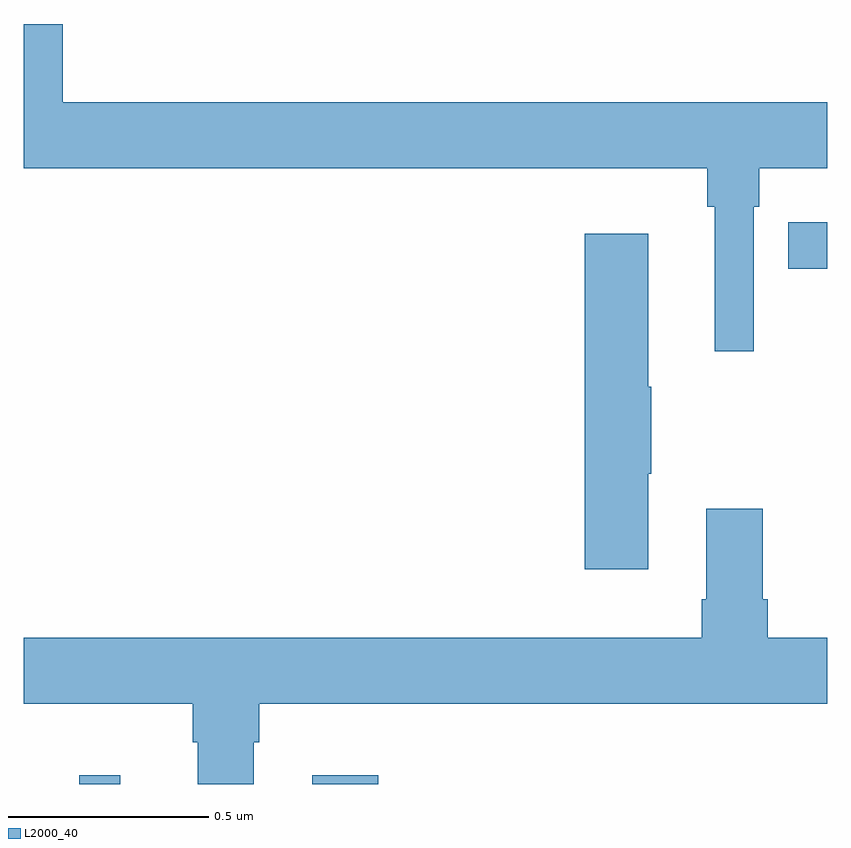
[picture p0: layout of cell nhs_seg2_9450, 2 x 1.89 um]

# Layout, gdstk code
import gdstk
lib = gdstk.Library(unit=1e-6, precision=1e-09)
def R(c, l, rs):  # rectangles x0, y0, x1, y1
    for r in rs: c.add(gdstk.rectangle(r[:2], r[2:], *l))
def P(c, l, *ps):  # polygons
    for p in ps: c.add(gdstk.Polygon(p, *l))
L2000_40 = (2000, 40)

nhs_seg2_9450 = lib.new_cell('nhs_seg2_9450')
R(nhs_seg2_9450, L2000_40, [(229.138,616.8,229.241,616.822), (229.718,616.8,229.882,616.822), (230.902,618.082,231,618.198)])
P(nhs_seg2_9450, L2000_40, [(230.817,618.236),(230.831,618.236),(230.831,618.332),(231,618.332),(231,618.496),(229.097,618.496),(229.097,618.691),(229,618.691),(229,618.332),(230.701,618.332),(230.701,618.236),(230.72,618.236),(230.72,617.877),(230.817,617.877)],
  [(230.554,617.572),(230.562,617.572),(230.562,617.789),(230.554,617.789),(230.554,618.169),(230.396,618.169),(230.396,617.334),(230.554,617.334)],
  [(229.573,616.904),(229.586,616.904),(229.586,617),(231,617),(231,617.164),(230.852,617.164),(230.852,617.26),(230.839,617.26),(230.839,617.485),(230.699,617.485),(230.699,617.26),(230.687,617.26),(230.687,617.164),(229,617.164),(229,617),(229.421,617),(229.421,616.904),(229.433,616.904),(229.433,616.8),(229.573,616.8)])

lib.write_gds('nhs_seg2_9450.gds')
